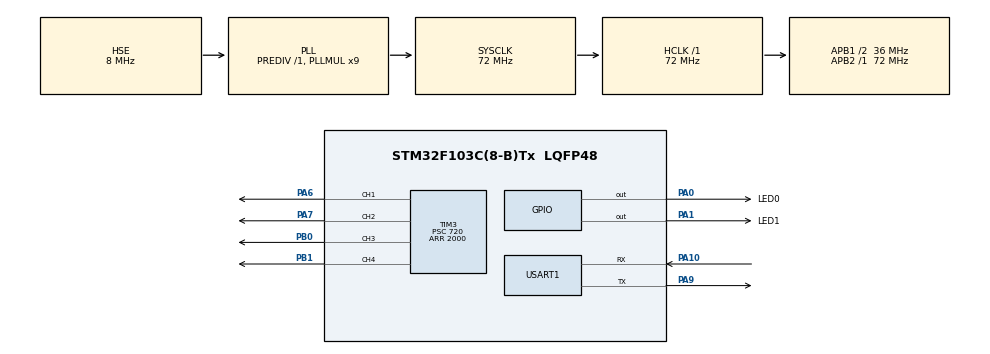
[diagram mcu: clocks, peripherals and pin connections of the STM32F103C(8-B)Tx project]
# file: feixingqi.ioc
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Dma.Request0=USART1_RX
Dma.USART1_RX.0.Direction=DMA_PERIPH_TO_MEMORY
Dma.USART1_RX.0.Instance=DMA1_Channel5
Dma.USART1_RX.0.MemDataAlignment=DMA_MDATAALIGN_BYTE
Dma.USART1_RX.0.MemInc=DMA_MINC_ENABLE
Dma.USART1_RX.0.Mode=DMA_CIRCULAR
Dma.USART1_RX.0.PeriphDataAlignment=DMA_PDATAALIGN_BYTE
Dma.USART1_RX.0.PeriphInc=DMA_PINC_DISABLE
Dma.USART1_RX.0.Priority=DMA_PRIORITY_VERY_HIGH
Mcu.Family=STM32F1
Mcu.Name=STM32F103C(8-B)Tx
Mcu.Package=LQFP48
NVIC.DMA1_Channel5_IRQn=true\:0\:0\:false\:false\:true\:false\:true
NVIC.PriorityGroup=NVIC_PRIORITYGROUP_4
NVIC.USART1_IRQn=true\:0\:0\:false\:true\:true\:1\:true\:true
PA0-WKUP.GPIO_Label=LED0
PA0-WKUP.GPIO_PuPd=GPIO_PULLUP
PA0-WKUP.PinState=GPIO_PIN_SET
PA0-WKUP.Signal=GPIO_Output
PA1.GPIO_Label=LED1
PA1.GPIO_PuPd=GPIO_PULLUP
PA1.PinState=GPIO_PIN_SET
PA1.Signal=GPIO_Output
PA10.Mode=Asynchronous
PA10.Signal=USART1_RX
PA13.Mode=Serial_Wire
PA13.Signal=SYS_JTMS-SWDIO
PA14.Mode=Serial_Wire
PA14.Signal=SYS_JTCK-SWCLK
PA6.Signal=S_TIM3_CH1
PA7.Signal=S_TIM3_CH2
PA9.Mode=Asynchronous
PA9.Signal=USART1_TX
PB0.Signal=S_TIM3_CH3
PB1.Signal=S_TIM3_CH4
PC14-OSC32_IN.Mode=LSE-External-Oscillator
PC14-OSC32_IN.Signal=RCC_OSC32_IN
PC15-OSC32_OUT.Mode=LSE-External-Oscillator
PC15-OSC32_OUT.Signal=RCC_OSC32_OUT
PD0-OSC_IN.Mode=HSE-External-Oscillator
PD0-OSC_IN.Signal=RCC_OSC_IN
PD1-OSC_OUT.Mode=HSE-External-Oscillator
PD1-OSC_OUT.Signal=RCC_OSC_OUT
ProjectManager.HeapSize=0x200
ProjectManager.StackSize=0x400
ProjectManager.TargetToolchain=STM32CubeIDE
RCC.AHBFreq_Value=72000000
RCC.APB1CLKDivider=RCC_HCLK_DIV2
RCC.APB1Freq_Value=36000000
RCC.APB1TimFreq_Value=72000000
RCC.APB2Freq_Value=72000000
RCC.APB2TimFreq_Value=72000000
RCC.HCLKFreq_Value=72000000
RCC.PLLMUL=RCC_PLL_MUL9
RCC.PLLSourceVirtual=RCC_PLLSOURCE_HSE
RCC.SYSCLKFreq_VALUE=72000000
RCC.SYSCLKSource=RCC_SYSCLKSOURCE_PLLCLK
RCC.USBFreq_Value=72000000
SH.S_TIM3_CH1.0=TIM3_CH1,PWM Generation1 CH1
SH.S_TIM3_CH2.0=TIM3_CH2,PWM Generation2 CH2
SH.S_TIM3_CH3.0=TIM3_CH3,PWM Generation3 CH3
SH.S_TIM3_CH4.0=TIM3_CH4,PWM Generation4 CH4
TIM3.AutoReloadPreload=TIM_AUTORELOAD_PRELOAD_DISABLE
TIM3.Channel-PWM\ Generation1\ CH1=TIM_CHANNEL_1
TIM3.Channel-PWM\ Generation2\ CH2=TIM_CHANNEL_2
TIM3.Channel-PWM\ Generation3\ CH3=TIM_CHANNEL_3
TIM3.Channel-PWM\ Generation4\ CH4=TIM_CHANNEL_4
TIM3.Period=2000
TIM3.Prescaler=720
USART1.VirtualMode=VM_ASYNC
VP_TIM3_VS_ClockSourceINT.Mode=Internal
board=custom

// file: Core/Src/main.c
/* USER CODE BEGIN Header */
/**
  ******************************************************************************
  * @file           : main.c
  * @brief          : Main program body
  ******************************************************************************
  * @attention
  *
  * <h2><center>&copy; Copyright (c) 2021 STMicroelectronics.
  * All rights reserved.</center></h2>
  *
  * This software component is licensed by ST under BSD 3-Clause license,
  * the "License"; You may not use this file except in compliance with the
  * License. You may obtain a copy of the License at:
  *                        opensource.org/licenses/BSD-3-Clause
  *
  ******************************************************************************
  */
/* USER CODE END Header */
#include "main.h"

TIM_HandleTypeDef htim3;

UART_HandleTypeDef huart1;
DMA_HandleTypeDef hdma_usart1_rx;

/* USER CODE BEGIN PV */
uint8_t buffer[255];
uint8_t last_command=0;
uint8_t motor_throttle[4]={0, 0, 0, 0};
uint8_t motor_state[4]={0, 0, 0, 0};
uint8_t commands_received[255];
uint8_t command_list_length=0;
/* USER CODE END PV */

void SystemClock_Config(void);
static void MX_GPIO_Init(void);
static void MX_TIM3_Init(void);
static void MX_DMA_Init(void);
static void MX_USART1_UART_Init(void);
static void MX_NVIC_Init(void);
/* USER CODE BEGIN PFP */
void motor_control(uint8_t motor_idx, uint8_t pwm);
void waiting_rasp();
void motor_stop();
void motor_init();
void motor_command_process();
/* USER CODE END PFP */

int main(void)
{

  /* MCU Configuration--------------------------------------------------------*/

  /* Reset of all peripherals, Initializes the Flash interface and the Systick. */
  HAL_Init();

  /* Configure the system clock */
  SystemClock_Config();

  /* Initialize all configured peripherals */
  MX_GPIO_Init();
  MX_TIM3_Init();
  MX_DMA_Init();
  MX_USART1_UART_Init();

  /* Initialize interrupts */
  MX_NVIC_Init();
  /* USER CODE BEGIN 2 */
  HAL_TIM_PWM_Start(&htim3, TIM_CHANNEL_1);
  HAL_TIM_PWM_Start(&htim3, TIM_CHANNEL_2);
  HAL_TIM_PWM_Start(&htim3, TIM_CHANNEL_3);
  HAL_TIM_PWM_Start(&htim3, TIM_CHANNEL_4);
  //motor_init();
  motor_stop();
  waiting_rasp();
  //HAL_UART_Receive_IT(&huart1,&buffer, 1);
  __HAL_UART_ENABLE_IT(&huart1, UART_IT_IDLE);
  HAL_UART_Receive_DMA(&huart1,buffer,255);

  /* USER CODE END 2 */

  /* Infinite loop */
  /* USER CODE BEGIN WHILE */
  uint8_t changed=0;
  while (1)
  {
	  if(command_list_length>0)
	  {
		  motor_command_process();
	  }
	  changed=0;
	  for(uint8_t i=0; i<4; i++)
	  {
		  if(motor_state[i]!=motor_throttle[i])
		  {
			  motor_state[i]=motor_throttle[i];
			  motor_control(i, motor_state[i]);
			  changed=1;
		  }
	  }
	  if(changed)
		  HAL_UART_Transmit(&huart1, motor_state, 4, 100);
    /* USER CODE END WHILE */

  }
}

void SystemClock_Config(void)
{
  RCC_OscInitTypeDef RCC_OscInitStruct = {0};
  RCC_ClkInitTypeDef RCC_ClkInitStruct = {0};

  /** Initializes the RCC Oscillators according to the specified parameters
  * in the RCC_OscInitTypeDef structure.
  */
  RCC_OscInitStruct.OscillatorType = RCC_OSCILLATORTYPE_HSE;
  RCC_OscInitStruct.HSEState = RCC_HSE_ON;
  RCC_OscInitStruct.HSEPredivValue = RCC_HSE_PREDIV_DIV1;
  RCC_OscInitStruct.HSIState = RCC_HSI_ON;
  RCC_OscInitStruct.PLL.PLLState = RCC_PLL_ON;
  RCC_OscInitStruct.PLL.PLLSource = RCC_PLLSOURCE_HSE;
  RCC_OscInitStruct.PLL.PLLMUL = RCC_PLL_MUL9;
  if (HAL_RCC_OscConfig(&RCC_OscInitStruct) != HAL_OK)
  {
    Error_Handler();
  }
  /** Initializes the CPU, AHB and APB buses clocks
  */
  RCC_ClkInitStruct.ClockType = RCC_CLOCKTYPE_HCLK|RCC_CLOCKTYPE_SYSCLK
                              |RCC_CLOCKTYPE_PCLK1|RCC_CLOCKTYPE_PCLK2;
  RCC_ClkInitStruct.SYSCLKSource = RCC_SYSCLKSOURCE_PLLCLK;
  RCC_ClkInitStruct.AHBCLKDivider = RCC_SYSCLK_DIV1;
  RCC_ClkInitStruct.APB1CLKDivider = RCC_HCLK_DIV2;
  RCC_ClkInitStruct.APB2CLKDivider = RCC_HCLK_DIV1;

  if (HAL_RCC_ClockConfig(&RCC_ClkInitStruct, FLASH_LATENCY_2) != HAL_OK)
  {
    Error_Handler();
  }
}

/**
  * @brief NVIC Configuration.
  * @retval None
  */
static void MX_NVIC_Init(void)
{
  /* USART1_IRQn interrupt configuration */
  HAL_NVIC_SetPriority(USART1_IRQn, 0, 0);
  HAL_NVIC_EnableIRQ(USART1_IRQn);
}

static void MX_TIM3_Init(void)
{

  TIM_ClockConfigTypeDef sClockSourceConfig = {0};
  TIM_MasterConfigTypeDef sMasterConfig = {0};
  TIM_OC_InitTypeDef sConfigOC = {0};

  htim3.Instance = TIM3;
  htim3.Init.Prescaler = 720;
  htim3.Init.CounterMode = TIM_COUNTERMODE_UP;
  htim3.Init.Period = 2000;
  htim3.Init.ClockDivision = TIM_CLOCKDIVISION_DIV1;
  htim3.Init.AutoReloadPreload = TIM_AUTORELOAD_PRELOAD_DISABLE;
  if (HAL_TIM_Base_Init(&htim3) != HAL_OK)
  {
    Error_Handler();
  }
  sClockSourceConfig.ClockSource = TIM_CLOCKSOURCE_INTERNAL;
  if (HAL_TIM_ConfigClockSource(&htim3, &sClockSourceConfig) != HAL_OK)
  {
    Error_Handler();
  }
  if (HAL_TIM_PWM_Init(&htim3) != HAL_OK)
  {
    Error_Handler();
  }
  sMasterConfig.MasterOutputTrigger = TIM_TRGO_RESET;
  sMasterConfig.MasterSlaveMode = TIM_MASTERSLAVEMODE_DISABLE;
  if (HAL_TIMEx_MasterConfigSynchronization(&htim3, &sMasterConfig) != HAL_OK)
  {
    Error_Handler();
  }
  sConfigOC.OCMode = TIM_OCMODE_PWM1;
  sConfigOC.Pulse = 0;
  sConfigOC.OCPolarity = TIM_OCPOLARITY_HIGH;
  sConfigOC.OCFastMode = TIM_OCFAST_DISABLE;
  if (HAL_TIM_PWM_ConfigChannel(&htim3, &sConfigOC, TIM_CHANNEL_1) != HAL_OK)
  {
    Error_Handler();
  }
  if (HAL_TIM_PWM_ConfigChannel(&htim3, &sConfigOC, TIM_CHANNEL_2) != HAL_OK)
  {
    Error_Handler();
  }
  if (HAL_TIM_PWM_ConfigChannel(&htim3, &sConfigOC, TIM_CHANNEL_3) != HAL_OK)
  {
    Error_Handler();
  }
  if (HAL_TIM_PWM_ConfigChannel(&htim3, &sConfigOC, TIM_CHANNEL_4) != HAL_OK)
  {
    Error_Handler();
  }
  HAL_TIM_MspPostInit(&htim3);

}

static void MX_USART1_UART_Init(void)
{

  huart1.Instance = USART1;
  huart1.Init.BaudRate = 115200;
  huart1.Init.WordLength = UART_WORDLENGTH_8B;
  huart1.Init.StopBits = UART_STOPBITS_1;
  huart1.Init.Parity = UART_PARITY_NONE;
  huart1.Init.Mode = UART_MODE_TX_RX;
  huart1.Init.HwFlowCtl = UART_HWCONTROL_NONE;
  huart1.Init.OverSampling = UART_OVERSAMPLING_16;
  if (HAL_UART_Init(&huart1) != HAL_OK)
  {
    Error_Handler();
  }

}

static void MX_DMA_Init(void)
{

  /* DMA controller clock enable */
  __HAL_RCC_DMA1_CLK_ENABLE();

  /* DMA interrupt init */
  /* DMA1_Channel5_IRQn interrupt configuration */
  HAL_NVIC_SetPriority(DMA1_Channel5_IRQn, 0, 0);
  HAL_NVIC_EnableIRQ(DMA1_Channel5_IRQn);

}

static void MX_GPIO_Init(void)
{
  GPIO_InitTypeDef GPIO_InitStruct = {0};

  /* GPIO Ports Clock Enable */
  __HAL_RCC_GPIOC_CLK_ENABLE();
  __HAL_RCC_GPIOD_CLK_ENABLE();
  __HAL_RCC_GPIOA_CLK_ENABLE();
  __HAL_RCC_GPIOB_CLK_ENABLE();

  /*Configure GPIO pin Output Level */
  HAL_GPIO_WritePin(GPIOA, LED0_Pin|LED1_Pin, GPIO_PIN_SET);

  /*Configure GPIO pins : LED0_Pin LED1_Pin */
  GPIO_InitStruct.Pin = LED0_Pin|LED1_Pin;
  GPIO_InitStruct.Mode = GPIO_MODE_OUTPUT_PP;
  GPIO_InitStruct.Pull = GPIO_PULLUP;
  GPIO_InitStruct.Speed = GPIO_SPEED_FREQ_LOW;
  HAL_GPIO_Init(GPIOA, &GPIO_InitStruct);

}

/* USER CODE BEGIN 4 */
void HAL_UART_RxCpltCallback(UART_HandleTypeDef *huart)
{
	if (huart->Instance==USART1)
	{
		//HAL_UART_Receive_IT(&huart1,&buffer, 1);
	}
}
void USAR_UART_IDLECallback(UART_HandleTypeDef *huart)
{
	HAL_UART_DMAStop(&huart1);

	// 计算接收到的数据长度
	uint8_t data_length  = 255 - __HAL_DMA_GET_COUNTER(&hdma_usart1_rx);

	//HAL_UART_Transmit(&huart1,&data_length,1,0x200);
	//memset(buffer,0,data_length);
	memcpy(commands_received, buffer, data_length);
	// 重启�??始DMA传输 每次255字节数据
	HAL_UART_Receive_DMA(&huart1, buffer, 255);
	command_list_length=data_length;
}
void USER_UART_IRQHandler(UART_HandleTypeDef *huart)
{
	if(USART1 == huart1.Instance)
	    {
	        if(RESET != __HAL_UART_GET_FLAG(&huart1, UART_FLAG_IDLE))
	        {
	            __HAL_UART_CLEAR_IDLEFLAG(&huart1);

	            USAR_UART_IDLECallback(&huart1);
	        }
	    }

}
void motor_control(uint8_t motor_idx, uint8_t pwm)
{
	pwm=pwm+100;
	switch(motor_idx)
	{
	case 0:
		__HAL_TIM_SET_COMPARE(&htim3, TIM_CHANNEL_1, pwm);
		break;
	case 1:
		__HAL_TIM_SET_COMPARE(&htim3, TIM_CHANNEL_2, pwm);
		break;
	case 2:
		__HAL_TIM_SET_COMPARE(&htim3, TIM_CHANNEL_3, pwm);
		break;
	case 3:
		__HAL_TIM_SET_COMPARE(&htim3, TIM_CHANNEL_4, pwm);
		break;
	}
}

void motor_stop()
{
	 for(uint8_t i=0; i<4; i++)
	  {
		  motor_control(i, 0);
	  }
}

void waiting_rasp()
{
	uint8_t text[]="arduino";
	uint8_t rec=0;
	while (1)
	{
		HAL_UART_Transmit(&huart1, text, 7, 100);
		HAL_UART_Receive(&huart1, &rec, 1, 100);
		if(rec==0xfe)
		{
			break;
		}
	}
}

void motor_init()
{
	for(uint8_t i=0; i<4; i++)
		  {
			  motor_control(i, 100);
		  }
	HAL_Delay(3000);
	motor_stop();
	HAL_Delay(2000);

}

void motor_command_process()
{
	static uint8_t last_command=0xfe;
	static uint8_t mode=0xfe;
	static uint8_t motor_selected[4]={0, 0, 0, 0};
	uint8_t pwm, temp;
	for(uint8_t i=0;i<command_list_length;i++)
	{
		last_command=commands_received[i];
		switch(last_command)
		{
		case 0xff:
		  mode=last_command;
		  break;
		case 0xfe:
		  mode=last_command;
		  break;
		default:
		  switch(mode)
		  {
		  case 0xff:
			  pwm=last_command;
			  for(uint8_t i=0; i<4; i++)
			  {
				  if(motor_selected[i]!=0)
				  {
					  motor_throttle[i]=pwm;
				  }
			  }
			  break;
		  case 0xfe:
			  temp=last_command;
			  for(uint8_t i=0; i<4;i++)
			  {

				  motor_selected[i]=temp%2;
				  temp-=motor_selected[i];
				  temp/=2;
			  }
			  break;
		  }
		}
	}
	command_list_length=0;
}
/* USER CODE END 4 */

void Error_Handler(void)
{
  __disable_irq();
  while (1)
  {
  }
}
